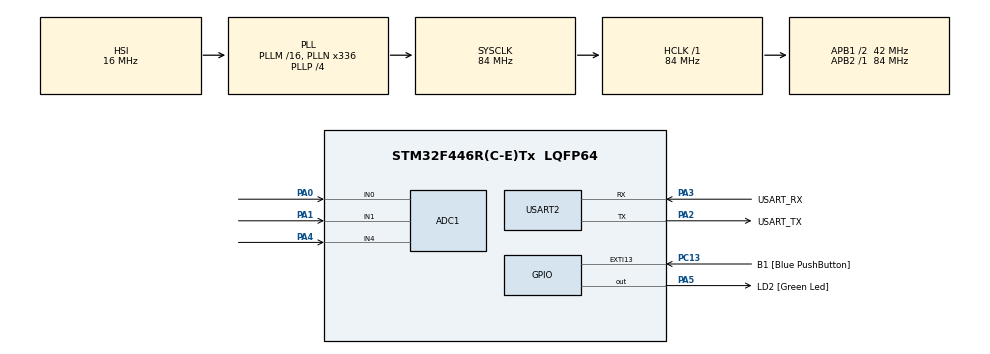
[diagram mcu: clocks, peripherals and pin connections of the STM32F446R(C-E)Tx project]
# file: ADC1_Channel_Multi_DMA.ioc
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ADC1.Channel-0\#ChannelRegularConversion=ADC_CHANNEL_0
ADC1.Channel-1\#ChannelRegularConversion=ADC_CHANNEL_1
ADC1.Channel-2\#ChannelRegularConversion=ADC_CHANNEL_4
ADC1.EOCSelection=ADC_EOC_SEQ_CONV
ADC1.NbrOfConversion=3
ADC1.NbrOfConversionFlag=1
ADC1.Rank-0\#ChannelRegularConversion=1
ADC1.Rank-1\#ChannelRegularConversion=2
ADC1.Rank-2\#ChannelRegularConversion=3
ADC1.SamplingTime-0\#ChannelRegularConversion=ADC_SAMPLETIME_480CYCLES
ADC1.SamplingTime-1\#ChannelRegularConversion=ADC_SAMPLETIME_480CYCLES
ADC1.SamplingTime-2\#ChannelRegularConversion=ADC_SAMPLETIME_480CYCLES
ADC1.ScanConvMode=ENABLE
ADC1.master=1
Dma.ADC1.0.Direction=DMA_PERIPH_TO_MEMORY
Dma.ADC1.0.FIFOMode=DMA_FIFOMODE_DISABLE
Dma.ADC1.0.Instance=DMA2_Stream0
Dma.ADC1.0.MemDataAlignment=DMA_MDATAALIGN_HALFWORD
Dma.ADC1.0.MemInc=DMA_MINC_ENABLE
Dma.ADC1.0.Mode=DMA_CIRCULAR
Dma.ADC1.0.PeriphDataAlignment=DMA_PDATAALIGN_HALFWORD
Dma.ADC1.0.PeriphInc=DMA_PINC_DISABLE
Dma.ADC1.0.Priority=DMA_PRIORITY_LOW
Dma.Request0=ADC1
Mcu.Family=STM32F4
Mcu.Name=STM32F446R(C-E)Tx
Mcu.Package=LQFP64
NVIC.ADC_IRQn=true\:0\:1\:false\:false\:true\:true\:true\:true
NVIC.DMA2_Stream0_IRQn=true\:0\:0\:false\:false\:true\:false\:true\:true
NVIC.PriorityGroup=NVIC_PRIORITYGROUP_0
PA0-WKUP.Signal=ADCx_IN0
PA1.Signal=ADCx_IN1
PA13.GPIO_Label=TMS
PA13.Mode=Serial_Wire
PA13.Signal=SYS_JTMS-SWDIO
PA14.GPIO_Label=TCK
PA14.Mode=Serial_Wire
PA14.Signal=SYS_JTCK-SWCLK
PA2.GPIO_Label=USART_TX
PA2.Mode=Asynchronous
PA2.Signal=USART2_TX
PA3.GPIO_Label=USART_RX
PA3.Mode=Asynchronous
PA3.Signal=USART2_RX
PA4.Signal=ADCx_IN4
PA5.GPIO_Label=LD2 [Green Led]
PA5.Signal=GPIO_Output
PB3.GPIO_Label=SWO
PB3.Signal=SYS_JTDO-SWO
PC13.GPIO_Label=B1 [Blue PushButton]
PC13.GPIO_ModeDefaultEXTI=GPIO_MODE_IT_FALLING
PC13.Signal=GPXTI13
PC14-OSC32_IN.Mode=LSE-External-Oscillator
PC14-OSC32_IN.Signal=RCC_OSC32_IN
PC15-OSC32_OUT.Mode=LSE-External-Oscillator
PC15-OSC32_OUT.Signal=RCC_OSC32_OUT
PH0-OSC_IN.Mode=HSE-External-Oscillator
PH0-OSC_IN.Signal=RCC_OSC_IN
PH1-OSC_OUT.Mode=HSE-External-Oscillator
PH1-OSC_OUT.Signal=RCC_OSC_OUT
ProjectManager.HeapSize=0x200
ProjectManager.StackSize=0x400
ProjectManager.TargetToolchain=STM32CubeIDE
RCC.48MHZClocksFreq_Value=84000000
RCC.AHBFreq_Value=84000000
RCC.APB1CLKDivider=RCC_HCLK_DIV2
RCC.APB1Freq_Value=42000000
RCC.APB1TimFreq_Value=84000000
RCC.APB2Freq_Value=84000000
RCC.APB2TimFreq_Value=84000000
RCC.CortexFreq_Value=84000000
RCC.FLatency-AdvancedSettings=FLASH_LATENCY_2
RCC.HCLKFreq_Value=84000000
RCC.HSE_VALUE=8000000
RCC.HSI_VALUE=16000000
RCC.PLLN=336
RCC.PLLP=RCC_PLLP_DIV4
RCC.SYSCLKFreq_VALUE=84000000
RCC.SYSCLKSource=RCC_SYSCLKSOURCE_PLLCLK
RCC.USBFreq_Value=168000000
RCC.VCOOutputFreq_Value=336000000
SH.ADCx_IN0.0=ADC1_IN0,IN0
SH.ADCx_IN1.0=ADC1_IN1,IN1
SH.ADCx_IN4.0=ADC1_IN4,IN4
USART2.VirtualMode=VM_ASYNC
board=NUCLEO-F446RE

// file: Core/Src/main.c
/* USER CODE BEGIN Header */
/**
  ******************************************************************************
  * @file           : main.c
  * @brief          : Main program body
  ******************************************************************************
  * @attention
  *
  * Copyright (c) 2024 STMicroelectronics.
  * All rights reserved.
  *
  * This software is licensed under terms that can be found in the LICENSE file
  * in the root directory of this software component.
  * If no LICENSE file comes with this software, it is provided AS-IS.
  *
  ******************************************************************************
  */
/* USER CODE END Header */
#include "main.h"

/* USER CODE BEGIN Includes */
#include <stdio.h>
#include <string.h>
/* USER CODE END Includes */

ADC_HandleTypeDef hadc1;
DMA_HandleTypeDef hdma_adc1;

UART_HandleTypeDef huart2;

/* USER CODE BEGIN PV */
uint8_t flag = 0;

double xaxis = 0;
double yaxis = 0;
double zaxis = 0;

uint16_t adc_buff[3];

char msg[1024];
/* USER CODE END PV */

void SystemClock_Config(void);
static void MX_GPIO_Init(void);
static void MX_DMA_Init(void);
static void MX_USART2_UART_Init(void);
static void MX_ADC1_Init(void);

/* USER CODE BEGIN 0 */
void HAL_ADC_ConvCpltCallback(ADC_HandleTypeDef* hadc)
{
	flag = 1;
}
/* USER CODE END 0 */

int main(void)
{

  /* MCU Configuration--------------------------------------------------------*/

  /* Reset of all peripherals, Initializes the Flash interface and the Systick. */
  HAL_Init();

  /* Configure the system clock */
  SystemClock_Config();

  /* Initialize all configured peripherals */
  MX_GPIO_Init();
  MX_DMA_Init();
  MX_USART2_UART_Init();
  MX_ADC1_Init();
  /* USER CODE BEGIN 2 */
  HAL_ADC_Start_DMA(&hadc1,(uint32_t *) adc_buff, 3);
  /* USER CODE END 2 */

  /* Infinite loop */
  /* USER CODE BEGIN WHILE */
  while (1)
  {

	  while(flag)
	  {
		  flag = 0;
		  xaxis = (((double)(adc_buff[0]*3.3)/4095.0)/0.330);
		  yaxis = (((double)(adc_buff[1]*3.3)/4095.0)/0.330);
		  zaxis = (((double)(adc_buff[2]*3.3)/4095.0)/0.330);
	  }
	  if(xaxis<5.0 || yaxis <5.1 || zaxis < 5.1) {

		  HAL_GPIO_TogglePin(LD2_GPIO_Port, LD2_Pin);
		  HAL_Delay(20);
	  }
	  else{
		  HAL_GPIO_TogglePin(LD2_GPIO_Port, LD2_Pin);
		  HAL_Delay(500);
	  }
	  sprintf(msg,"X-Axis : %f  Y-Axis : %f  Z-Axis : %f \r\n",xaxis,yaxis,zaxis);
	  HAL_UART_Transmit(&huart2,(uint8_t *) msg, sizeof(msg), HAL_MAX_DELAY);

	  HAL_ADC_Start_DMA(&hadc1,(uint32_t *) adc_buff, 3);

    /* USER CODE END WHILE */

  }
}

void SystemClock_Config(void)
{
  RCC_OscInitTypeDef RCC_OscInitStruct = {0};
  RCC_ClkInitTypeDef RCC_ClkInitStruct = {0};

  /** Configure the main internal regulator output voltage
  */
  __HAL_RCC_PWR_CLK_ENABLE();
  __HAL_PWR_VOLTAGESCALING_CONFIG(PWR_REGULATOR_VOLTAGE_SCALE3);

  /** Initializes the RCC Oscillators according to the specified parameters
  * in the RCC_OscInitTypeDef structure.
  */
  RCC_OscInitStruct.OscillatorType = RCC_OSCILLATORTYPE_HSI;
  RCC_OscInitStruct.HSIState = RCC_HSI_ON;
  RCC_OscInitStruct.HSICalibrationValue = RCC_HSICALIBRATION_DEFAULT;
  RCC_OscInitStruct.PLL.PLLState = RCC_PLL_ON;
  RCC_OscInitStruct.PLL.PLLSource = RCC_PLLSOURCE_HSI;
  RCC_OscInitStruct.PLL.PLLM = 16;
  RCC_OscInitStruct.PLL.PLLN = 336;
  RCC_OscInitStruct.PLL.PLLP = RCC_PLLP_DIV4;
  RCC_OscInitStruct.PLL.PLLQ = 2;
  RCC_OscInitStruct.PLL.PLLR = 2;
  if (HAL_RCC_OscConfig(&RCC_OscInitStruct) != HAL_OK)
  {
    Error_Handler();
  }

  /** Initializes the CPU, AHB and APB buses clocks
  */
  RCC_ClkInitStruct.ClockType = RCC_CLOCKTYPE_HCLK|RCC_CLOCKTYPE_SYSCLK
                              |RCC_CLOCKTYPE_PCLK1|RCC_CLOCKTYPE_PCLK2;
  RCC_ClkInitStruct.SYSCLKSource = RCC_SYSCLKSOURCE_PLLCLK;
  RCC_ClkInitStruct.AHBCLKDivider = RCC_SYSCLK_DIV1;
  RCC_ClkInitStruct.APB1CLKDivider = RCC_HCLK_DIV2;
  RCC_ClkInitStruct.APB2CLKDivider = RCC_HCLK_DIV1;

  if (HAL_RCC_ClockConfig(&RCC_ClkInitStruct, FLASH_LATENCY_2) != HAL_OK)
  {
    Error_Handler();
  }
}

static void MX_ADC1_Init(void)
{

  ADC_ChannelConfTypeDef sConfig = {0};

  /** Configure the global features of the ADC (Clock, Resolution, Data Alignment and number of conversion)
  */
  hadc1.Instance = ADC1;
  hadc1.Init.ClockPrescaler = ADC_CLOCK_SYNC_PCLK_DIV4;
  hadc1.Init.Resolution = ADC_RESOLUTION_12B;
  hadc1.Init.ScanConvMode = ENABLE;
  hadc1.Init.ContinuousConvMode = DISABLE;
  hadc1.Init.DiscontinuousConvMode = DISABLE;
  hadc1.Init.ExternalTrigConvEdge = ADC_EXTERNALTRIGCONVEDGE_NONE;
  hadc1.Init.ExternalTrigConv = ADC_SOFTWARE_START;
  hadc1.Init.DataAlign = ADC_DATAALIGN_RIGHT;
  hadc1.Init.NbrOfConversion = 3;
  hadc1.Init.DMAContinuousRequests = DISABLE;
  hadc1.Init.EOCSelection = ADC_EOC_SEQ_CONV;
  if (HAL_ADC_Init(&hadc1) != HAL_OK)
  {
    Error_Handler();
  }

  /** Configure for the selected ADC regular channel its corresponding rank in the sequencer and its sample time.
  */
  sConfig.Channel = ADC_CHANNEL_0;
  sConfig.Rank = 1;
  sConfig.SamplingTime = ADC_SAMPLETIME_480CYCLES;
  if (HAL_ADC_ConfigChannel(&hadc1, &sConfig) != HAL_OK)
  {
    Error_Handler();
  }

  /** Configure for the selected ADC regular channel its corresponding rank in the sequencer and its sample time.
  */
  sConfig.Channel = ADC_CHANNEL_1;
  sConfig.Rank = 2;
  if (HAL_ADC_ConfigChannel(&hadc1, &sConfig) != HAL_OK)
  {
    Error_Handler();
  }

  /** Configure for the selected ADC regular channel its corresponding rank in the sequencer and its sample time.
  */
  sConfig.Channel = ADC_CHANNEL_4;
  sConfig.Rank = 3;
  if (HAL_ADC_ConfigChannel(&hadc1, &sConfig) != HAL_OK)
  {
    Error_Handler();
  }

}

static void MX_USART2_UART_Init(void)
{

  huart2.Instance = USART2;
  huart2.Init.BaudRate = 115200;
  huart2.Init.WordLength = UART_WORDLENGTH_8B;
  huart2.Init.StopBits = UART_STOPBITS_1;
  huart2.Init.Parity = UART_PARITY_NONE;
  huart2.Init.Mode = UART_MODE_TX_RX;
  huart2.Init.HwFlowCtl = UART_HWCONTROL_NONE;
  huart2.Init.OverSampling = UART_OVERSAMPLING_16;
  if (HAL_UART_Init(&huart2) != HAL_OK)
  {
    Error_Handler();
  }

}

static void MX_DMA_Init(void)
{

  /* DMA controller clock enable */
  __HAL_RCC_DMA2_CLK_ENABLE();

  /* DMA interrupt init */
  /* DMA2_Stream0_IRQn interrupt configuration */
  HAL_NVIC_SetPriority(DMA2_Stream0_IRQn, 0, 0);
  HAL_NVIC_EnableIRQ(DMA2_Stream0_IRQn);

}

static void MX_GPIO_Init(void)
{
  GPIO_InitTypeDef GPIO_InitStruct = {0};

  /* GPIO Ports Clock Enable */
  __HAL_RCC_GPIOC_CLK_ENABLE();
  __HAL_RCC_GPIOH_CLK_ENABLE();
  __HAL_RCC_GPIOA_CLK_ENABLE();
  __HAL_RCC_GPIOB_CLK_ENABLE();

  /*Configure GPIO pin Output Level */
  HAL_GPIO_WritePin(LD2_GPIO_Port, LD2_Pin, GPIO_PIN_RESET);

  /*Configure GPIO pin : B1_Pin */
  GPIO_InitStruct.Pin = B1_Pin;
  GPIO_InitStruct.Mode = GPIO_MODE_IT_FALLING;
  GPIO_InitStruct.Pull = GPIO_NOPULL;
  HAL_GPIO_Init(B1_GPIO_Port, &GPIO_InitStruct);

  /*Configure GPIO pin : LD2_Pin */
  GPIO_InitStruct.Pin = LD2_Pin;
  GPIO_InitStruct.Mode = GPIO_MODE_OUTPUT_PP;
  GPIO_InitStruct.Pull = GPIO_NOPULL;
  GPIO_InitStruct.Speed = GPIO_SPEED_FREQ_LOW;
  HAL_GPIO_Init(LD2_GPIO_Port, &GPIO_InitStruct);

}

void Error_Handler(void)
{
  __disable_irq();
  while (1)
  {
  }
}
